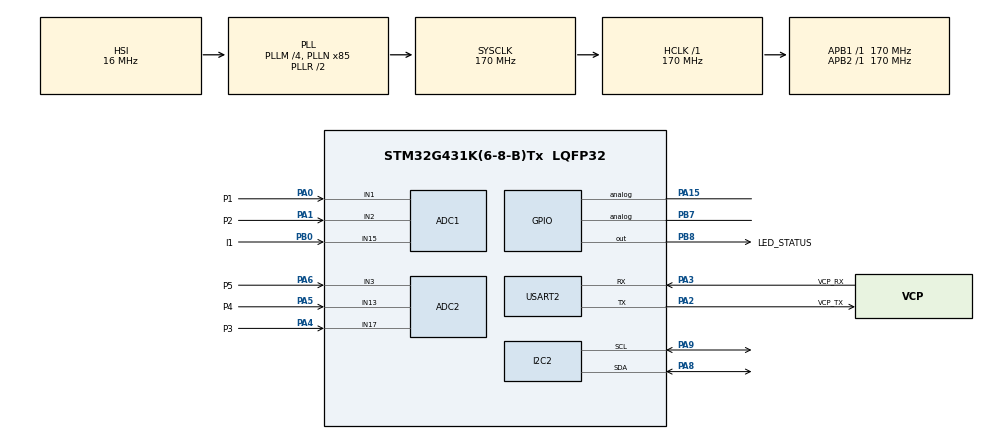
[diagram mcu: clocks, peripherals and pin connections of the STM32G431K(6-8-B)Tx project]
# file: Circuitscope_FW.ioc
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ADC1.Channel-0\#ChannelRegularConversion=ADC_CHANNEL_1
ADC1.ExternalTrigConv=ADC_EXTERNALTRIG_T2_TRGO
ADC1.NbrOfConversionFlag=1
ADC1.OffsetNumber-0\#ChannelRegularConversion=ADC_OFFSET_NONE
ADC1.Rank-0\#ChannelRegularConversion=1
ADC1.SamplingTime-0\#ChannelRegularConversion=ADC_SAMPLETIME_47CYCLES_5
ADC1.master=1
ADC2.Channel-0\#ChannelRegularConversion=ADC_CHANNEL_3
ADC2.ExternalTrigConv=ADC_EXTERNALTRIG_T2_TRGO
ADC2.NbrOfConversionFlag=1
ADC2.OffsetNumber-0\#ChannelRegularConversion=ADC_OFFSET_NONE
ADC2.Rank-0\#ChannelRegularConversion=1
ADC2.SamplingTime-0\#ChannelRegularConversion=ADC_SAMPLETIME_47CYCLES_5
Dma.ADC1.0.Direction=DMA_PERIPH_TO_MEMORY
Dma.ADC1.0.EventEnable=DISABLE
Dma.ADC1.0.Instance=DMA1_Channel1
Dma.ADC1.0.MemDataAlignment=DMA_MDATAALIGN_HALFWORD
Dma.ADC1.0.MemInc=DMA_MINC_ENABLE
Dma.ADC1.0.Mode=DMA_NORMAL
Dma.ADC1.0.PeriphDataAlignment=DMA_PDATAALIGN_HALFWORD
Dma.ADC1.0.PeriphInc=DMA_PINC_DISABLE
Dma.ADC1.0.Polarity=HAL_DMAMUX_REQ_GEN_RISING
Dma.ADC1.0.Priority=DMA_PRIORITY_HIGH
Dma.ADC1.0.RequestNumber=1
Dma.ADC1.0.SignalID=NONE
Dma.ADC1.0.SyncEnable=DISABLE
Dma.ADC1.0.SyncPolarity=HAL_DMAMUX_SYNC_NO_EVENT
Dma.ADC1.0.SyncRequestNumber=1
Dma.ADC1.0.SyncSignalID=NONE
Dma.ADC2.1.Direction=DMA_PERIPH_TO_MEMORY
Dma.ADC2.1.EventEnable=DISABLE
Dma.ADC2.1.Instance=DMA1_Channel2
Dma.ADC2.1.MemDataAlignment=DMA_MDATAALIGN_HALFWORD
Dma.ADC2.1.MemInc=DMA_MINC_ENABLE
Dma.ADC2.1.Mode=DMA_NORMAL
Dma.ADC2.1.PeriphDataAlignment=DMA_PDATAALIGN_HALFWORD
Dma.ADC2.1.PeriphInc=DMA_PINC_DISABLE
Dma.ADC2.1.Polarity=HAL_DMAMUX_REQ_GEN_RISING
Dma.ADC2.1.Priority=DMA_PRIORITY_HIGH
Dma.ADC2.1.RequestNumber=1
Dma.ADC2.1.SignalID=NONE
Dma.ADC2.1.SyncEnable=DISABLE
Dma.ADC2.1.SyncPolarity=HAL_DMAMUX_SYNC_NO_EVENT
Dma.ADC2.1.SyncRequestNumber=1
Dma.ADC2.1.SyncSignalID=NONE
Dma.Request0=ADC1
Dma.Request1=ADC2
Dma.Request2=USART2_TX
Dma.USART2_TX.2.Direction=DMA_MEMORY_TO_PERIPH
Dma.USART2_TX.2.EventEnable=DISABLE
Dma.USART2_TX.2.Instance=DMA1_Channel3
Dma.USART2_TX.2.MemDataAlignment=DMA_MDATAALIGN_BYTE
Dma.USART2_TX.2.MemInc=DMA_MINC_ENABLE
Dma.USART2_TX.2.Mode=DMA_NORMAL
Dma.USART2_TX.2.PeriphDataAlignment=DMA_PDATAALIGN_BYTE
Dma.USART2_TX.2.PeriphInc=DMA_PINC_DISABLE
Dma.USART2_TX.2.Polarity=HAL_DMAMUX_REQ_GEN_RISING
Dma.USART2_TX.2.Priority=DMA_PRIORITY_LOW
Dma.USART2_TX.2.RequestNumber=1
Dma.USART2_TX.2.SignalID=NONE
Dma.USART2_TX.2.SyncEnable=DISABLE
Dma.USART2_TX.2.SyncPolarity=HAL_DMAMUX_SYNC_NO_EVENT
Dma.USART2_TX.2.SyncRequestNumber=1
Dma.USART2_TX.2.SyncSignalID=NONE
I2C2.Timing=0x40B285C2
Mcu.Family=STM32G4
Mcu.Name=STM32G431K(6-8-B)Tx
Mcu.Package=LQFP32
NVIC.DMA1_Channel1_IRQn=true\:0\:0\:false\:false\:true\:false\:true\:true
NVIC.DMA1_Channel2_IRQn=true\:0\:0\:false\:false\:true\:false\:true\:true
NVIC.DMA1_Channel3_IRQn=true\:0\:0\:false\:false\:true\:false\:true\:true
NVIC.PriorityGroup=NVIC_PRIORITYGROUP_4
NVIC.USART2_IRQn=true\:0\:0\:false\:false\:true\:true\:true\:true
PA0.GPIO_Label=P1
PA0.Mode=IN1-Single-Ended
PA0.Signal=ADC1_IN1
PA1.GPIO_Label=P2
PA1.Mode=IN2-Single-Ended
PA1.Signal=ADC1_IN2
PA13.GPIO_Label=T_SWDIO
PA13.Mode=Serial_Wire
PA13.Signal=SYS_JTMS-SWDIO
PA14.GPIO_Label=T_SWCLK
PA14.Mode=Serial_Wire
PA14.Signal=SYS_JTCK-SWCLK
PA15.Signal=GPIO_Analog
PA2.GPIO_Label=VCP_TX
PA2.Mode=Asynchronous
PA2.Signal=USART2_TX
PA3.GPIO_Label=VCP_RX
PA3.Mode=Asynchronous
PA3.Signal=USART2_RX
PA4.GPIO_Label=P3
PA4.Mode=IN17-Single-Ended
PA4.Signal=ADC2_IN17
PA5.GPIO_Label=P4
PA5.Mode=IN13-Single-Ended
PA5.Signal=ADC2_IN13
PA6.GPIO_Label=P5
PA6.Mode=IN3-Single-Ended
PA6.Signal=ADC2_IN3
PA7.GPIO_Label=I2
PA7.Signal=ADC2_IN4
PA8.Mode=I2C
PA8.Signal=I2C2_SDA
PA9.Mode=I2C
PA9.Signal=I2C2_SCL
PB0.GPIO_Label=I1
PB0.Mode=IN15-Single-Ended
PB0.Signal=ADC1_IN15
PB3.GPIO_Label=T_SWO
PB3.Signal=SYS_JTDO-SWO
PB7.Signal=GPIO_Analog
PB8-BOOT0.GPIO_Label=LED_STATUS
PB8-BOOT0.Signal=GPIO_Output
ProjectManager.HeapSize=0x200
ProjectManager.StackSize=0x400
ProjectManager.TargetToolchain=STM32CubeIDE
RCC.ADC12Freq_Value=170000000
RCC.AHBFreq_Value=170000000
RCC.APB1Freq_Value=170000000
RCC.APB1TimFreq_Value=170000000
RCC.APB2Freq_Value=170000000
RCC.APB2TimFreq_Value=170000000
RCC.CortexFreq_Value=170000000
RCC.EXTERNAL_CLOCK_VALUE=12288000
RCC.HCLKFreq_Value=170000000
RCC.HSE_VALUE=8000000
RCC.HSI48_VALUE=48000000
RCC.HSI_VALUE=16000000
RCC.LSE_VALUE=32768
RCC.PLLM=RCC_PLLM_DIV4
RCC.PLLN=85
RCC.SYSCLKFreq_VALUE=170000000
RCC.SYSCLKSource=RCC_SYSCLKSOURCE_PLLCLK
RCC.USBFreq_Value=170000000
RCC.VCOOutputFreq_Value=340000000
TIM2.PeriodNoDither=169999
TIM2.TIM_MasterOutputTrigger=TIM_TRGO_UPDATE
USART2.VirtualMode-Asynchronous=VM_ASYNC
VP_SYS_VS_DBSignals.Mode=DisableDeadBatterySignals
VP_TIM2_VS_ClockSourceINT.Mode=Internal
board=NUCLEO-G431KB

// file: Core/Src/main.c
/* USER CODE BEGIN Header */
/**
  ******************************************************************************
  * @file           : main.c
  * @brief          : Main program body
  ******************************************************************************
  * @attention
  *
  * Copyright (c) 2026 STMicroelectronics.
  * All rights reserved.
  *
  * This software is licensed under terms that can be found in the LICENSE file
  * in the root directory of this software component.
  * If no LICENSE file comes with this software, it is provided AS-IS.
  *
  ******************************************************************************
  */
/* USER CODE END Header */
#include "main.h"
#include "adc.h"
#include "dma.h"
#include "i2c.h"
#include "tim.h"
#include "usart.h"
#include "gpio.h"

/* USER CODE BEGIN Includes */

#include "comms.h"     /* USART2 link to the PC                              */
#include "protocol.h"  /* command parser                                     */
#include "linebuf.h"   /* CMD_LINE_MAX                                       */
#include "board.h"     /* status LED                                         */
#include "measure.h"   /* SAMPLE capture (TIM2 + ADC + DMA)                  */
#include "lcd.h"       /* 16x2 status display on I2C1                        */
#include "watchdog.h"  /* independent watchdog: resets the box if it freezes */

/* USER CODE END Includes */

void SystemClock_Config(void);

int main(void)
{

  /* MCU Configuration--------------------------------------------------------*/

  /* Reset of all peripherals, Initializes the Flash interface and the Systick. */
  HAL_Init();

  /* Configure the system clock */
  SystemClock_Config();

  /* Initialize all configured peripherals */
  MX_GPIO_Init();
  MX_DMA_Init();
  MX_ADC1_Init();
  MX_ADC2_Init();
  MX_TIM2_Init();
  MX_I2C2_Init();
  MX_USART2_UART_Init();
  /* USER CODE BEGIN 2 */
  measure_init();    /* calibrate ADC1 and ADC2 once at start-up          */
  lcd_init();        /* find the LCD and show name + box ID (if fitted)   */
  if (watchdog_caused_reset()) {
    lcd_status("Watchdog reset");  /* box froze last time and restarted itself */
  }
  /* TEMPORARY: force PA3 back to USART2_RX (AF7). Something else sets it to AF12.
     Remove once the CubeMX setting causing it is fixed. */
  GPIO_InitTypeDef rx = {0};
  rx.Pin       = VCP_RX_Pin;
  rx.Mode      = GPIO_MODE_AF_PP;
  rx.Pull      = GPIO_NOPULL;
  rx.Speed     = GPIO_SPEED_FREQ_LOW;
  rx.Alternate = GPIO_AF7_USART2;
  HAL_GPIO_Init(VCP_RX_GPIO_Port, &rx);
  comms_init();      /* start listening for PC commands on USART2 */
  watchdog_init();   /* LAST: from here the main loop must kick every <2 s */
  /* USER CODE END 2 */

  /* Infinite loop */
  while (1)
  {

    /* USER CODE BEGIN 3 */
	    watchdog_kick();               /* "still alive" - must run at least every 2 s */

	    char line[CMD_LINE_MAX + 1];   /* one received command */

	    switch (comms_get_line(line, sizeof line)) {
	    case COMMS_LINE:
	      board_led_toggle();          /* LED changes state on every command     */
	      lcd_pc_connected();          /* first command: show "PC connected"     */
	      protocol_handle_line(line);  /* parse and reply                        */
	      break;
	    case COMMS_TOO_LONG:
	      protocol_handle_too_long();  /* line over 64 chars: ERR BADCMD         */
	      break;
	    default:
	      break;                       /* nothing received yet                   */
	    }
  }
  /* USER CODE END 3 */
}

void SystemClock_Config(void)
{
  RCC_OscInitTypeDef RCC_OscInitStruct = {0};
  RCC_ClkInitTypeDef RCC_ClkInitStruct = {0};

  /** Configure the main internal regulator output voltage
  */
  HAL_PWREx_ControlVoltageScaling(PWR_REGULATOR_VOLTAGE_SCALE1_BOOST);

  /** Initializes the RCC Oscillators according to the specified parameters
  * in the RCC_OscInitTypeDef structure.
  */
  RCC_OscInitStruct.OscillatorType = RCC_OSCILLATORTYPE_HSI;
  RCC_OscInitStruct.HSIState = RCC_HSI_ON;
  RCC_OscInitStruct.HSICalibrationValue = RCC_HSICALIBRATION_DEFAULT;
  RCC_OscInitStruct.PLL.PLLState = RCC_PLL_ON;
  RCC_OscInitStruct.PLL.PLLSource = RCC_PLLSOURCE_HSI;
  RCC_OscInitStruct.PLL.PLLM = RCC_PLLM_DIV4;
  RCC_OscInitStruct.PLL.PLLN = 85;
  RCC_OscInitStruct.PLL.PLLP = RCC_PLLP_DIV2;
  RCC_OscInitStruct.PLL.PLLQ = RCC_PLLQ_DIV2;
  RCC_OscInitStruct.PLL.PLLR = RCC_PLLR_DIV2;
  if (HAL_RCC_OscConfig(&RCC_OscInitStruct) != HAL_OK)
  {
    Error_Handler();
  }

  /** Initializes the CPU, AHB and APB buses clocks
  */
  RCC_ClkInitStruct.ClockType = RCC_CLOCKTYPE_HCLK|RCC_CLOCKTYPE_SYSCLK
                              |RCC_CLOCKTYPE_PCLK1|RCC_CLOCKTYPE_PCLK2;
  RCC_ClkInitStruct.SYSCLKSource = RCC_SYSCLKSOURCE_PLLCLK;
  RCC_ClkInitStruct.AHBCLKDivider = RCC_SYSCLK_DIV1;
  RCC_ClkInitStruct.APB1CLKDivider = RCC_HCLK_DIV1;
  RCC_ClkInitStruct.APB2CLKDivider = RCC_HCLK_DIV1;

  if (HAL_RCC_ClockConfig(&RCC_ClkInitStruct, FLASH_LATENCY_4) != HAL_OK)
  {
    Error_Handler();
  }
}

void Error_Handler(void)
{
  __disable_irq();
  while (1)
  {
  }
}
